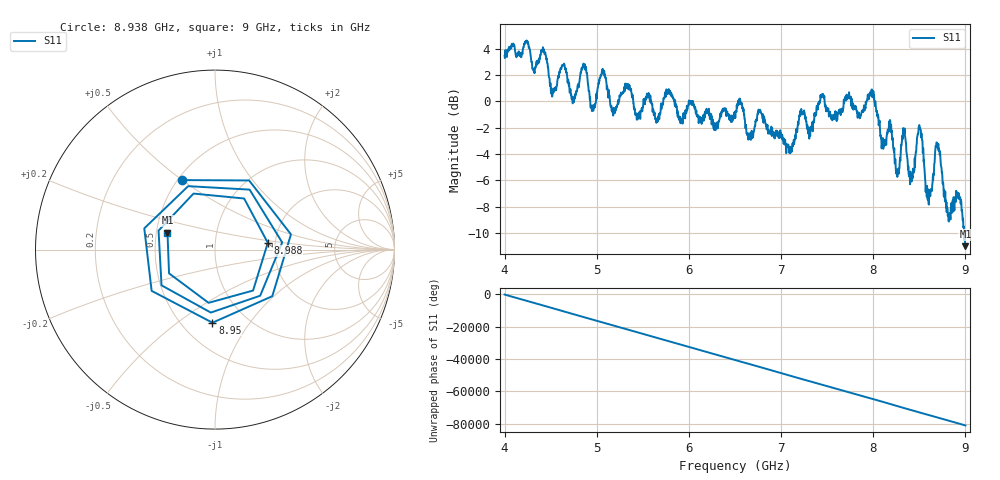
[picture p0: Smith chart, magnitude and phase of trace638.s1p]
! Created with skrf 1.8.0 (http://scikit-rf.org).
# Hz S RI R 50.0
!freq ReS11 ImS11
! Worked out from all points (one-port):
!   1601 points, 4 GHz to 9 GHz, reference 50 ohm
!   lowest |S11| = -11.0 dB at 9 GHz (marker M1), VSWR 1.78, Z = 28.6 + j5.92 ohm
!   |S11| at or under -10 dB: 8.985428 GHz to end of sweep
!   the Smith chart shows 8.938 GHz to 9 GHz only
!   S11 on the Smith chart (normalised r, x): 8.938 GHz: 0.53, +0.50; 8.95 GHz: 0.70, -0.68; 8.988 GHz: 1.83, +0.15; 9 GHz: 0.57, +0.12
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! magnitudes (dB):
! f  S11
! 4 GHz  3.5
! 4.422 GHz  3.8
! 4.528 GHz  0.9
! 4.625 GHz  2.7
! 4.744 GHz  -0.1
! 4.859 GHz  2.7
! 4.956 GHz  -0.4
! 5.062 GHz  2.5
! 5.172 GHz  -0.9
! 5.25 GHz  0.4
! 5.875 GHz  -0.7
! 6.5 GHz  -0.8
! 7.125 GHz  -3.2
! 7.225 GHz  -1.0
! 7.75 GHz  0.3
! 7.988 GHz  0.3
! 8.259 GHz  -5.7
! 8.328 GHz  -2.3
! 8.375 GHz  -4.7
! 8.422 GHz  -5.9
! 8.503 GHz  -2.0
! 8.594 GHz  -7.3
! 8.7 GHz  -3.4
! 8.812 GHz  -8.5
! 8.938 GHz  -7.4
! 8.95 GHz  -7.8
! 8.988 GHz  -10.6
! 9 GHz  -11.0
